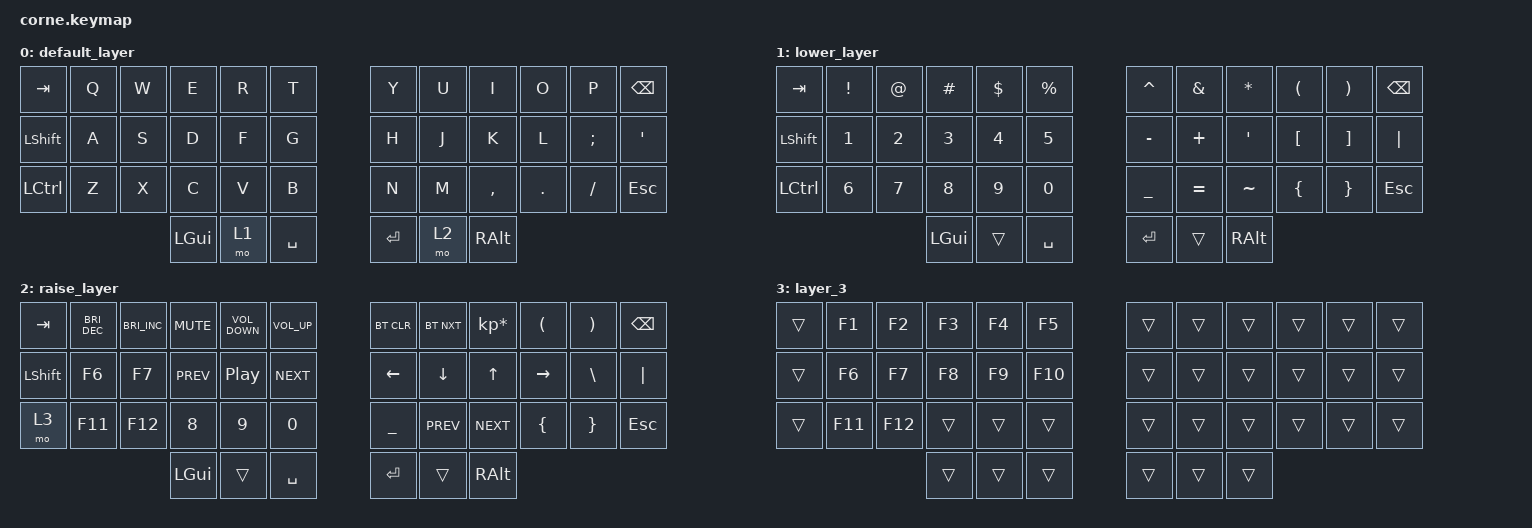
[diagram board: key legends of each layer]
/*
 * Copyright (c) 2020 The ZMK Contributors
 *
 * SPDX-License-Identifier: MIT
 */

#include <behaviors.dtsi>
#include <dt-bindings/zmk/bt.h>
#include <dt-bindings/zmk/keys.h>

/ {
    combos { compatible = "zmk,combos"; };

    keymap {
        compatible = "zmk,keymap";

        default_layer {
            // -----------------------------------------------------------------------------------------
            // |  TAB |  Q  |  W  |  E  |  R  |  T  |   |  Y  |  U   |  I  |  O  |  P  | BKSP |
            // | CTRL |  A  |  S  |  D  |  F  |  G  |   |  H  |  J   |  K  |  L  |  ;  |  '   |
            // | SHFT |  Z  |  X  |  C  |  V  |  B  |   |  N  |  M   |  ,  |  .  |  /  | ESC  |
            //                    | GUI | LWR | SPC |   | ENT | RSE  | ALT |

            bindings = <
&kp TAB         &kp Q  &kp W  &kp E     &kp R  &kp T        &kp Y    &kp U  &kp I      &kp O    &kp P     &kp BSPC
&kp LEFT_SHIFT  &kp A  &kp S  &kp D     &kp F  &kp G        &kp H    &kp J  &kp K      &kp L    &kp SEMI  &kp SQT
&kp LCTRL       &kp Z  &kp X  &kp C     &kp V  &kp B        &kp N    &kp M  &kp COMMA  &kp DOT  &kp FSLH  &kp ESC
                              &kp LGUI  &mo 1  &kp SPACE    &kp RET  &mo 2  &kp RALT
            >;
        };

        lower_layer {
            // -----------------------------------------------------------------------------------------
            // |  TAB |  1  |  2  |  3  |  4  |  5  |   |  6  |  7  |  8  |  9  |  0  | BKSP |
            // | BTCLR| BT1 | BT2 | BT3 | BT4 | BT5 |   | LFT | DWN |  UP | RGT |     |      |
            // | SHFT |     |     |     |     |     |   |     |     |     |     |     |      |
            //                    | GUI |     | SPC |   | ENT |     | ALT |

            bindings = <
&kp TAB     &kp EXCLAMATION  &kp AT_SIGN   &kp HASH      &kp DOLLAR    &kp PERCENT    &kp CARET  &kp AMPERSAND  &kp ASTERISK  &kp LEFT_PARENTHESIS  &kp RIGHT_PARENTHESIS  &kp BSPC
&kp LSHIFT  &kp NUMBER_1     &kp NUMBER_2  &kp NUMBER_3  &kp NUMBER_4  &kp N5         &kp MINUS  &kp PLUS       &kp SQT       &kp LEFT_BRACKET      &kp RIGHT_BRACKET      &kp PIPE
&kp LCTRL   &kp NUMBER_6     &kp N7        &kp N8        &kp NUMBER_9  &kp N0         &kp UNDER  &kp EQUAL      &kp TILDE     &kp LEFT_BRACE        &kp RIGHT_BRACE        &kp ESCAPE
                                           &kp LGUI      &trans        &kp SPACE      &kp RET    &trans         &kp RALT
            >;
        };

        raise_layer {
            // -----------------------------------------------------------------------------------------
            // |  TAB |  !  |  @  |  #  |  $  |  %  |   |  ^  |  &  |  *  |  (  |  )  | BKSP |
            // | CTRL |     |     |     |     |     |   |  -  |  =  |  [  |  ]  |  \  |  `   |
            // | SHFT |     |     |     |     |     |   |  _  |  +  |  {  |  }  | "|" |  ~   |
            //                    | GUI |     | SPC |   | ENT |     | ALT |

            bindings = <
&kp TAB         &kp C_BRIGHTNESS_DEC  &kp C_BRIGHTNESS_INC  &kp K_MUTE    &kp C_VOLUME_DOWN  &kp C_VOLUME_UP    &bt BT_CLR      &bt BT_NXT      &kp KP_MULTIPLY  &kp LPAR        &kp RPAR         &kp BSPC
&kp LEFT_SHIFT  &kp F6                &kp F7                &kp C_PREV    &kp C_PP           &kp C_NEXT         &kp LEFT_ARROW  &kp DOWN_ARROW  &kp UP           &kp RIGHT       &kp BSLH         &kp PIPE
&mo 3           &kp F11               &kp F12               &kp NUMBER_8  &kp NUMBER_9       &kp NUMBER_0       &kp UNDER       &kp K_PREV      &kp K_NEXT       &kp LEFT_BRACE  &kp RIGHT_BRACE  &kp ESCAPE
                                                            &kp LGUI      &trans             &kp SPACE          &kp RET         &trans          &kp RALT
            >;
        };

        layer_3 {
            bindings = <
&trans  &kp F1   &kp F2   &kp F3  &kp F4  &kp F5     &trans  &trans  &trans  &trans  &trans  &trans
&trans  &kp F6   &kp F7   &kp F8  &kp F9  &kp F10    &trans  &trans  &trans  &trans  &trans  &trans
&trans  &kp F11  &kp F12  &trans  &trans  &trans     &trans  &trans  &trans  &trans  &trans  &trans
                          &trans  &trans  &trans     &trans  &trans  &trans
            >;
        };
    };
};
